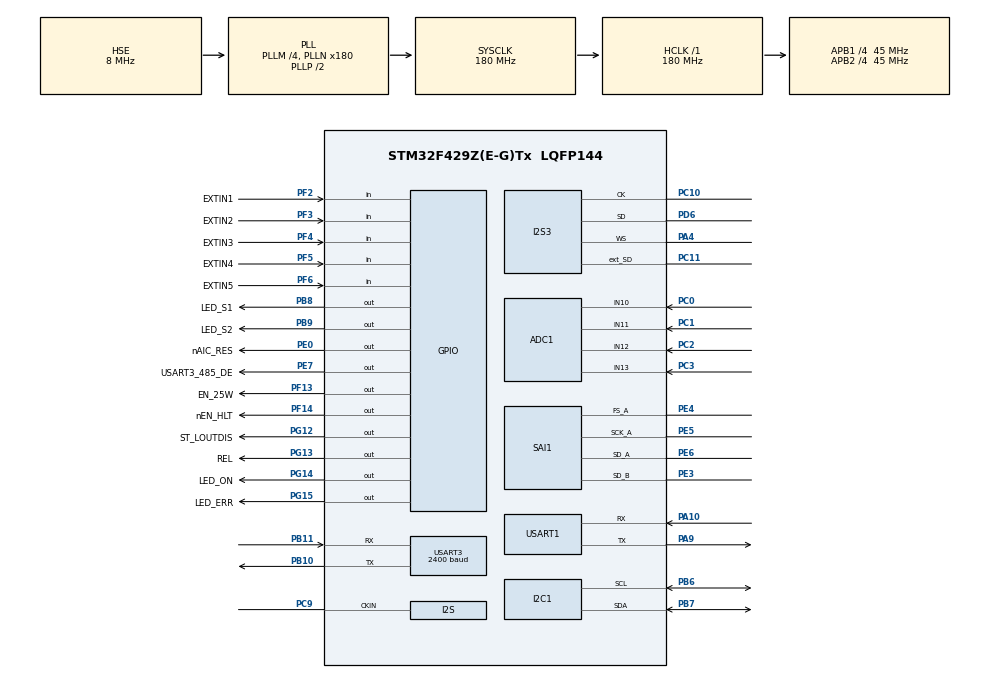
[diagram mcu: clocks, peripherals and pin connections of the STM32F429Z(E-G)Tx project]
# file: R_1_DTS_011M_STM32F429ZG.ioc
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ADC1.Channel-0\#ChannelRegularConversion=ADC_CHANNEL_10
ADC1.Channel-1\#ChannelRegularConversion=ADC_CHANNEL_11
ADC1.Channel-4\#ChannelRegularConversion=ADC_CHANNEL_12
ADC1.Channel-5\#ChannelRegularConversion=ADC_CHANNEL_13
ADC1.ClockPrescaler=ADC_CLOCK_SYNC_PCLK_DIV8
ADC1.ContinuousConvMode=ENABLE
ADC1.DMAContinuousRequests=ENABLE
ADC1.ExternalTrigConv=ADC_SOFTWARE_START
ADC1.NbrOfConversion=4
ADC1.NbrOfConversionFlag=1
ADC1.Rank-0\#ChannelRegularConversion=1
ADC1.Rank-1\#ChannelRegularConversion=2
ADC1.Rank-4\#ChannelRegularConversion=3
ADC1.Rank-5\#ChannelRegularConversion=4
ADC1.SamplingTime-0\#ChannelRegularConversion=ADC_SAMPLETIME_3CYCLES
ADC1.SamplingTime-1\#ChannelRegularConversion=ADC_SAMPLETIME_3CYCLES
ADC1.SamplingTime-4\#ChannelRegularConversion=ADC_SAMPLETIME_3CYCLES
ADC1.SamplingTime-5\#ChannelRegularConversion=ADC_SAMPLETIME_3CYCLES
ADC1.ScanConvMode=ENABLE
ADC1.master=1
Dma.ADC1.3.Direction=DMA_PERIPH_TO_MEMORY
Dma.ADC1.3.FIFOMode=DMA_FIFOMODE_DISABLE
Dma.ADC1.3.Instance=DMA2_Stream0
Dma.ADC1.3.MemDataAlignment=DMA_MDATAALIGN_WORD
Dma.ADC1.3.MemInc=DMA_MINC_ENABLE
Dma.ADC1.3.Mode=DMA_CIRCULAR
Dma.ADC1.3.PeriphDataAlignment=DMA_PDATAALIGN_WORD
Dma.ADC1.3.PeriphInc=DMA_PINC_DISABLE
Dma.ADC1.3.Priority=DMA_PRIORITY_LOW
Dma.I2S3_EXT_RX.4.Direction=DMA_PERIPH_TO_MEMORY
Dma.I2S3_EXT_RX.4.FIFOMode=DMA_FIFOMODE_DISABLE
Dma.I2S3_EXT_RX.4.Instance=DMA1_Stream0
Dma.I2S3_EXT_RX.4.MemDataAlignment=DMA_MDATAALIGN_HALFWORD
Dma.I2S3_EXT_RX.4.MemInc=DMA_MINC_ENABLE
Dma.I2S3_EXT_RX.4.Mode=DMA_CIRCULAR
Dma.I2S3_EXT_RX.4.PeriphDataAlignment=DMA_PDATAALIGN_HALFWORD
Dma.I2S3_EXT_RX.4.PeriphInc=DMA_PINC_DISABLE
Dma.I2S3_EXT_RX.4.Priority=DMA_PRIORITY_HIGH
Dma.Request0=SAI1_B
Dma.Request1=SAI1_A
Dma.Request2=SPI3_TX
Dma.Request3=ADC1
Dma.Request4=I2S3_EXT_RX
Dma.SAI1_A.1.Direction=DMA_MEMORY_TO_PERIPH
Dma.SAI1_A.1.FIFOMode=DMA_FIFOMODE_DISABLE
Dma.SAI1_A.1.Instance=DMA2_Stream1
Dma.SAI1_A.1.MemDataAlignment=DMA_MDATAALIGN_HALFWORD
Dma.SAI1_A.1.MemInc=DMA_MINC_ENABLE
Dma.SAI1_A.1.Mode=DMA_CIRCULAR
Dma.SAI1_A.1.PeriphDataAlignment=DMA_PDATAALIGN_HALFWORD
Dma.SAI1_A.1.PeriphInc=DMA_PINC_DISABLE
Dma.SAI1_A.1.Priority=DMA_PRIORITY_VERY_HIGH
Dma.SAI1_B.0.Direction=DMA_PERIPH_TO_MEMORY
Dma.SAI1_B.0.FIFOMode=DMA_FIFOMODE_DISABLE
Dma.SAI1_B.0.Instance=DMA2_Stream4
Dma.SAI1_B.0.MemDataAlignment=DMA_MDATAALIGN_HALFWORD
Dma.SAI1_B.0.MemInc=DMA_MINC_ENABLE
Dma.SAI1_B.0.Mode=DMA_CIRCULAR
Dma.SAI1_B.0.PeriphDataAlignment=DMA_PDATAALIGN_HALFWORD
Dma.SAI1_B.0.PeriphInc=DMA_PINC_DISABLE
Dma.SAI1_B.0.Priority=DMA_PRIORITY_VERY_HIGH
Dma.SPI3_TX.2.Direction=DMA_MEMORY_TO_PERIPH
Dma.SPI3_TX.2.FIFOMode=DMA_FIFOMODE_DISABLE
Dma.SPI3_TX.2.Instance=DMA1_Stream5
Dma.SPI3_TX.2.MemDataAlignment=DMA_MDATAALIGN_HALFWORD
Dma.SPI3_TX.2.MemInc=DMA_MINC_ENABLE
Dma.SPI3_TX.2.Mode=DMA_CIRCULAR
Dma.SPI3_TX.2.PeriphDataAlignment=DMA_PDATAALIGN_HALFWORD
Dma.SPI3_TX.2.PeriphInc=DMA_PINC_DISABLE
Dma.SPI3_TX.2.Priority=DMA_PRIORITY_HIGH
I2C1.I2C_Mode=I2C_Fast
I2S3.CPOL=I2S_CPOL_LOW
I2S3.ClockSource=I2S_CLOCK_PLL
I2S3.DataFormat=I2S_DATAFORMAT_16B
I2S3.ErrorAudioFreq=0.0 %
I2S3.FullDuplexMode=I2S_FULLDUPLEXMODE_ENABLE
I2S3.Instance=SPI$Index
I2S3.RealAudioFreq=8.0 KHz
I2S3.VirtualMode=I2S_MODE_MASTER
IWDG.Prescaler=IWDG_PRESCALER_64
IWDG.Reload=3500
Mcu.Family=STM32F4
Mcu.Name=STM32F429Z(E-G)Tx
Mcu.Package=LQFP144
NVIC.DMA1_Stream5_IRQn=true\:1\:0\:true\:false\:true\:true\:true
NVIC.DMA2_Stream0_IRQn=true\:1\:0\:true\:false\:true\:true\:true
NVIC.DMA2_Stream4_IRQn=true\:1\:0\:true\:false\:true\:true\:true
NVIC.PriorityGroup=NVIC_PRIORITYGROUP_4
NVIC.USART1_IRQn=true\:5\:0\:true\:false\:false\:true\:false
NVIC.USART3_IRQn=true\:6\:0\:true\:false\:false\:true\:false
PA10.Mode=Asynchronous
PA10.Signal=USART1_RX
PA4.Mode=Full_Duplex_Master
PA4.Signal=I2S3_WS
PA9.Mode=Asynchronous
PA9.Signal=USART1_TX
PB10.Mode=Asynchronous
PB10.Signal=USART3_TX
PB11.Mode=Asynchronous
PB11.Signal=USART3_RX
PB6.Mode=I2C
PB6.Signal=I2C1_SCL
PB7.Mode=I2C
PB7.Signal=I2C1_SDA
PB8.GPIO_Label=LED_S1
PB8.GPIO_Speed=GPIO_SPEED_FREQ_MEDIUM
PB8.PinState=GPIO_PIN_SET
PB8.Signal=GPIO_Output
PB9.GPIO_Label=LED_S2
PB9.GPIO_Speed=GPIO_SPEED_FREQ_MEDIUM
PB9.PinState=GPIO_PIN_SET
PB9.Signal=GPIO_Output
PC0.Signal=ADCx_IN10
PC1.Signal=ADCx_IN11
PC10.Mode=Full_Duplex_Master
PC10.Signal=I2S3_CK
PC11.Mode=Full_Duplex_Master
PC11.Signal=I2S3_ext_SD
PC2.Signal=ADCx_IN12
PC3.Signal=ADCx_IN13
PC9.Mode=Audio_ClockIn
PC9.Signal=I2S_CKIN
PD6.Mode=Full_Duplex_Master
PD6.Signal=I2S3_SD
PE0.GPIO_Label=nAIC_RES
PE0.GPIO_Speed=GPIO_SPEED_FREQ_LOW
PE0.Signal=GPIO_Output
PE3.Mode=SAI_B_SyncSlave
PE3.Signal=SAI1_SD_B
PE4.Mode=SAI_A_AsyncSlave
PE4.Signal=SAI1_FS_A
PE5.Mode=SAI_A_AsyncSlave
PE5.Signal=SAI1_SCK_A
PE6.Mode=SAI_A_AsyncSlave
PE6.Signal=SAI1_SD_A
PE7.GPIO_Label=USART3_485_DE
PE7.GPIO_Speed=GPIO_SPEED_FREQ_HIGH
PE7.Signal=GPIO_Output
PF13.GPIO_Label=EN_25W
PF13.Signal=GPIO_Output
PF14.GPIO_Label=nEN_HLT
PF14.Signal=GPIO_Output
PF2.GPIO_Label=EXTIN1
PF2.Signal=GPIO_Input
PF3.GPIO_Label=EXTIN2
PF3.Signal=GPIO_Input
PF4.GPIO_Label=EXTIN3
PF4.Signal=GPIO_Input
PF5.GPIO_Label=EXTIN4
PF5.Signal=GPIO_Input
PF6.GPIO_Label=EXTIN5
PF6.Signal=GPIO_Input
PG12.GPIO_Label=ST_LOUTDIS
PG12.Signal=GPIO_Output
PG13.GPIO_Label=REL
PG13.GPIO_Speed=GPIO_SPEED_FREQ_MEDIUM
PG13.PinState=GPIO_PIN_RESET
PG13.Signal=GPIO_Output
PG14.GPIO_Label=LED_ON
PG14.GPIO_Speed=GPIO_SPEED_FREQ_MEDIUM
PG14.PinState=GPIO_PIN_RESET
PG14.Signal=GPIO_Output
PG15.GPIO_Label=LED_ERR
PG15.GPIO_Speed=GPIO_SPEED_FREQ_MEDIUM
PG15.PinState=GPIO_PIN_SET
PG15.Signal=GPIO_Output
PH0/OSC_IN.Mode=HSE-External-Oscillator
PH0/OSC_IN.Signal=RCC_OSC_IN
PH1/OSC_OUT.Mode=HSE-External-Oscillator
PH1/OSC_OUT.Signal=RCC_OSC_OUT
ProjectManager.HeapSize=0x1000
ProjectManager.StackSize=0x1000
ProjectManager.TargetToolchain=MDK-ARM V5.27
RCC.48MHZClocksFreq_Value=90000000
RCC.AHBFreq_Value=180000000
RCC.APB1CLKDivider=RCC_HCLK_DIV4
RCC.APB1Freq_Value=45000000
RCC.APB1TimFreq_Value=90000000
RCC.APB2CLKDivider=RCC_HCLK_DIV4
RCC.APB2Freq_Value=45000000
RCC.APB2TimFreq_Value=90000000
RCC.CortexFreq_Value=180000000
RCC.EXTERNAL_CLOCK_VALUE=2048000
RCC.HCLKFreq_Value=180000000
RCC.HSE_VALUE=8000000
RCC.HSI_VALUE=16000000
RCC.LSE_VALUE=32768
RCC.PLLI2SR=4
RCC.PLLM=4
RCC.PLLN=180
RCC.PLLSAIN=216
RCC.PLLSAIQ=2
RCC.PLLSourceVirtual=RCC_PLLSOURCE_HSE
RCC.PWREXT_OverDrive=PWREXT_OverDrive_ACTIVATED
RCC.PWR_Regulator_Voltage_Scale=PWR_REGULATOR_VOLTAGE_SCALE1
RCC.SYSCLKFreq_VALUE=180000000
RCC.SYSCLKSource=RCC_SYSCLKSOURCE_PLLCLK
RCC.VCOOutputFreq_Value=360000000
SAI1.AudioMode-SAI_A_AsyncSlave=SAI_MODESLAVE_TX
SAI1.ClockStrobing-SAI_A_AsyncSlave=SAI_CLOCKSTROBING_RISINGEDGE
SAI1.DataSize-SAI_A_AsyncSlave=SAI_DATASIZE_16
SAI1.DataSize-SAI_B_SyncSlave=SAI_DATASIZE_16
SAI1.FrameLength-SAI_A_AsyncSlave=256
SAI1.FrameLength-SAI_B_SyncSlave=256
SAI1.Instance-SAI_A_AsyncSlave=SAI$Index_Block_A
SAI1.Instance-SAI_B_SyncSlave=SAI$Index_Block_B
SAI1.SlotActive-SAI_A_AsyncSlave=0x00000003
SAI1.SlotActive-SAI_B_SyncSlave=0x00000003
SAI1.SlotNumber-SAI_A_AsyncSlave=16
SAI1.SlotNumber-SAI_B_SyncSlave=16
SAI1.Synchro_A=SAI_ASYNCHRONOUS
SAI1.Synchro_B=SAI_SYNCHRONOUS
SAI1.VirtualMode-SAI_A_AsyncSlave=VM_SLAVE
SAI1.VirtualMode-SAI_B_SyncSlave=VM_SLAVE
SAI1.VirtualSlotActive-SAI_A_AsyncSlave=SAI_SLOT_USERSETTING
SAI1.VirtualSlotActive-SAI_B_SyncSlave=SAI_SLOT_USERSETTING
SAI1.VirtualSlotActive0-SAI_A_AsyncSlave=true
SAI1.VirtualSlotActive0-SAI_B_SyncSlave=true
SAI1.VirtualSlotActive1-SAI_A_AsyncSlave=true
SAI1.VirtualSlotActive1-SAI_B_SyncSlave=true
SH.ADCx_IN10.0=ADC1_IN10,IN10
SH.ADCx_IN11.0=ADC1_IN11,IN11
SH.ADCx_IN12.0=ADC1_IN12,IN12
SH.ADCx_IN13.0=ADC1_IN13,IN13
USART1.VirtualMode=VM_ASYNC
USART3.BaudRate=2400
USART3.VirtualMode=VM_ASYNC
VP_IWDG_VS_IWDG.Mode=IWDG_Activate
board=custom

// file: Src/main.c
/* USER CODE BEGIN Header */
/**
  ******************************************************************************
  * @file           : main.c
  * @brief          : Main program body
  ******************************************************************************
  * @attention
  *
  * <h2><center>&copy; Copyright (c) 2023 STMicroelectronics.
  * All rights reserved.</center></h2>
  *
  * This software component is licensed by ST under BSD 3-Clause license,
  * the "License"; You may not use this file except in compliance with the
  * License. You may obtain a copy of the License at:
  *                        opensource.org/licenses/BSD-3-Clause
  *
  ******************************************************************************
  */
/* USER CODE END Header */

#include "main.h"

/* USER CODE BEGIN Includes */
#include "dbg_uart.h"
#include "ST-BUS_SAI_in_out.h"
#include "HDLC_Tx.h"
#include "HDLC_Rx_low_level.h"
#include "main_logic.h"
#include "uart.h"
#include "tastature.h"
#include "codec_TLV320AIC3100.h"
#include "audio_in_out.h"
#include "volume_control.h"
/* USER CODE END Includes */

ADC_HandleTypeDef hadc1;
DMA_HandleTypeDef hdma_adc1;

I2C_HandleTypeDef hi2c1;

I2S_HandleTypeDef hi2s3;
DMA_HandleTypeDef hdma_spi3_tx;
DMA_HandleTypeDef hdma_i2s3_ext_rx;

IWDG_HandleTypeDef hiwdg;

SAI_HandleTypeDef hsai_BlockA1;
SAI_HandleTypeDef hsai_BlockB1;
DMA_HandleTypeDef hdma_sai1_b;
DMA_HandleTypeDef hdma_sai1_a;

/* USER CODE BEGIN PV */
FLASH_OBProgramInitTypeDef	Fuses;
/* USER CODE END PV */

void SystemClock_Config(void);
static void MX_GPIO_Init(void);
static void MX_DMA_Init(void);
static void MX_SAI1_Init(void);
static void MX_USART1_UART_Init(void);
static void MX_USART3_UART_Init(void);
static void MX_I2C1_Init(void);
static void MX_I2S3_Init(void);
static void MX_ADC1_Init(void);
static void MX_IWDG_Init(void);

/* USER CODE BEGIN 0 */

void CLR_WDT(void) {
  HAL_IWDG_Refresh(&hiwdg);
}
void ReadProtect(void) // защита от считывания
{

  HAL_FLASHEx_OBGetConfig(&Fuses);

  if (Fuses.RDPLevel != OB_RDP_LEVEL_1) {
    HAL_FLASH_Unlock(); // разрешаем запись
    HAL_FLASH_OB_Unlock(); // разрешаем запись

    Fuses.RDPLevel = OB_RDP_LEVEL_1;
    HAL_FLASHEx_OBProgram(&Fuses);

    HAL_FLASH_OB_Launch();
    HAL_FLASH_OB_Lock(); // запрещаем запись
    HAL_FLASH_Lock(); // запрещаем запись
  }
}
/* USER CODE END 0 */

int main(void)
{

  /* MCU Configuration--------------------------------------------------------*/

  /* Reset of all peripherals, Initializes the Flash interface and the Systick. */
  HAL_Init();

  /* Configure the system clock */
  SystemClock_Config();

  /* Initialize all configured peripherals */
  MX_GPIO_Init();
  MX_DMA_Init();
  MX_SAI1_Init();
  MX_USART1_UART_Init();
  MX_USART3_UART_Init();
  MX_I2C1_Init();
  MX_I2S3_Init();
  MX_ADC1_Init();
  MX_IWDG_Init();
  /* USER CODE BEGIN 2 */
  puts("Start application.\r");
  puts("\rFirmware version: "FIRMWARE_VERSION"\r");
  DV_port_input_Init();
  initTastature();
  AudioInOutInit();
  initMainLogic();

  //ReadProtect(); //   <---------------------- защита от считывания
  /* USER CODE END 2 */

  /* Infinite loop */
  /* USER CODE BEGIN WHILE */
  while (1)
{
    static uint32_t tmr = 0;

    if (HAL_GetTick() - tmr > 7000) {
      tmr = HAL_GetTick();

    }

    processHdlcFrame();
//    HDLC_ProcessTx(); // перенесено в 1 мс прерывание
    doMainLogic();

    /* USER CODE END WHILE */

  }
}

void SystemClock_Config(void)
{
  RCC_OscInitTypeDef RCC_OscInitStruct = {0};
  RCC_ClkInitTypeDef RCC_ClkInitStruct = {0};
  RCC_PeriphCLKInitTypeDef PeriphClkInitStruct = {0};

  /** Macro to configure SAI1BlockB clock source selection
  */
  __HAL_RCC_SAI_BLOCKBCLKSOURCE_CONFIG(SAI_CLKSOURCE_PLLSAI);
  /** Macro to configure SAI1BlockA clock source selection
  */
  __HAL_RCC_SAI_BLOCKACLKSOURCE_CONFIG(SAI_CLKSOURCE_PLLSAI);
  /** Configure the main internal regulator output voltage
  */
  __HAL_RCC_PWR_CLK_ENABLE();
  __HAL_PWR_VOLTAGESCALING_CONFIG(PWR_REGULATOR_VOLTAGE_SCALE1);
  /** Initializes the CPU, AHB and APB busses clocks
  */
  RCC_OscInitStruct.OscillatorType = RCC_OSCILLATORTYPE_LSI|RCC_OSCILLATORTYPE_HSE;
  RCC_OscInitStruct.HSEState = RCC_HSE_ON;
  RCC_OscInitStruct.LSIState = RCC_LSI_ON;
  RCC_OscInitStruct.PLL.PLLState = RCC_PLL_ON;
  RCC_OscInitStruct.PLL.PLLSource = RCC_PLLSOURCE_HSE;
  RCC_OscInitStruct.PLL.PLLM = 4;
  RCC_OscInitStruct.PLL.PLLN = 180;
  RCC_OscInitStruct.PLL.PLLP = RCC_PLLP_DIV2;
  RCC_OscInitStruct.PLL.PLLQ = 4;
  if (HAL_RCC_OscConfig(&RCC_OscInitStruct) != HAL_OK)
  {
    Error_Handler();
  }
  /** Activate the Over-Drive mode
  */
  if (HAL_PWREx_EnableOverDrive() != HAL_OK)
  {
    Error_Handler();
  }
  /** Initializes the CPU, AHB and APB busses clocks
  */
  RCC_ClkInitStruct.ClockType = RCC_CLOCKTYPE_HCLK|RCC_CLOCKTYPE_SYSCLK
                              |RCC_CLOCKTYPE_PCLK1|RCC_CLOCKTYPE_PCLK2;
  RCC_ClkInitStruct.SYSCLKSource = RCC_SYSCLKSOURCE_PLLCLK;
  RCC_ClkInitStruct.AHBCLKDivider = RCC_SYSCLK_DIV1;
  RCC_ClkInitStruct.APB1CLKDivider = RCC_HCLK_DIV4;
  RCC_ClkInitStruct.APB2CLKDivider = RCC_HCLK_DIV4;

  if (HAL_RCC_ClockConfig(&RCC_ClkInitStruct, FLASH_LATENCY_5) != HAL_OK)
  {
    Error_Handler();
  }
  PeriphClkInitStruct.PeriphClockSelection = RCC_PERIPHCLK_I2S|RCC_PERIPHCLK_SAI_PLLSAI;
  PeriphClkInitStruct.PLLI2S.PLLI2SN = 192;
  PeriphClkInitStruct.PLLI2S.PLLI2SR = 4;
  PeriphClkInitStruct.PLLSAI.PLLSAIN = 216;
  PeriphClkInitStruct.PLLSAI.PLLSAIQ = 2;
  PeriphClkInitStruct.PLLSAIDivQ = 1;
  if (HAL_RCCEx_PeriphCLKConfig(&PeriphClkInitStruct) != HAL_OK)
  {
    Error_Handler();
  }
}

static void MX_ADC1_Init(void)
{

  ADC_ChannelConfTypeDef sConfig = {0};

  /** Configure the global features of the ADC (Clock, Resolution, Data Alignment and number of conversion)
  */
  hadc1.Instance = ADC1;
  hadc1.Init.ClockPrescaler = ADC_CLOCK_SYNC_PCLK_DIV8;
  hadc1.Init.Resolution = ADC_RESOLUTION_12B;
  hadc1.Init.ScanConvMode = ENABLE;
  hadc1.Init.ContinuousConvMode = ENABLE;
  hadc1.Init.DiscontinuousConvMode = DISABLE;
  hadc1.Init.ExternalTrigConvEdge = ADC_EXTERNALTRIGCONVEDGE_NONE;
  hadc1.Init.ExternalTrigConv = ADC_SOFTWARE_START;
  hadc1.Init.DataAlign = ADC_DATAALIGN_RIGHT;
  hadc1.Init.NbrOfConversion = 4;
  hadc1.Init.DMAContinuousRequests = ENABLE;
  hadc1.Init.EOCSelection = ADC_EOC_SINGLE_CONV;
  if (HAL_ADC_Init(&hadc1) != HAL_OK)
  {
    Error_Handler();
  }
  /** Configure for the selected ADC regular channel its corresponding rank in the sequencer and its sample time.
  */
  sConfig.Channel = ADC_CHANNEL_10;
  sConfig.Rank = 1;
  sConfig.SamplingTime = ADC_SAMPLETIME_3CYCLES;
  if (HAL_ADC_ConfigChannel(&hadc1, &sConfig) != HAL_OK)
  {
    Error_Handler();
  }
  /** Configure for the selected ADC regular channel its corresponding rank in the sequencer and its sample time.
  */
  sConfig.Channel = ADC_CHANNEL_11;
  sConfig.Rank = 2;
  if (HAL_ADC_ConfigChannel(&hadc1, &sConfig) != HAL_OK)
  {
    Error_Handler();
  }
  /** Configure for the selected ADC regular channel its corresponding rank in the sequencer and its sample time.
  */
  sConfig.Channel = ADC_CHANNEL_12;
  sConfig.Rank = 3;
  if (HAL_ADC_ConfigChannel(&hadc1, &sConfig) != HAL_OK)
  {
    Error_Handler();
  }
  /** Configure for the selected ADC regular channel its corresponding rank in the sequencer and its sample time.
  */
  sConfig.Channel = ADC_CHANNEL_13;
  sConfig.Rank = 4;
  if (HAL_ADC_ConfigChannel(&hadc1, &sConfig) != HAL_OK)
  {
    Error_Handler();
  }

}

static void MX_I2C1_Init(void)
{

  hi2c1.Instance = I2C1;
  hi2c1.Init.ClockSpeed = 400000;
  hi2c1.Init.DutyCycle = I2C_DUTYCYCLE_2;
  hi2c1.Init.OwnAddress1 = 0;
  hi2c1.Init.AddressingMode = I2C_ADDRESSINGMODE_7BIT;
  hi2c1.Init.DualAddressMode = I2C_DUALADDRESS_DISABLE;
  hi2c1.Init.OwnAddress2 = 0;
  hi2c1.Init.GeneralCallMode = I2C_GENERALCALL_DISABLE;
  hi2c1.Init.NoStretchMode = I2C_NOSTRETCH_DISABLE;
  if (HAL_I2C_Init(&hi2c1) != HAL_OK)
  {
    Error_Handler();
  }
  /** Configure Analogue filter
  */
  if (HAL_I2CEx_ConfigAnalogFilter(&hi2c1, I2C_ANALOGFILTER_ENABLE) != HAL_OK)
  {
    Error_Handler();
  }
  /** Configure Digital filter
  */
  if (HAL_I2CEx_ConfigDigitalFilter(&hi2c1, 0) != HAL_OK)
  {
    Error_Handler();
  }

}

static void MX_I2S3_Init(void)
{

  hi2s3.Instance = SPI3;
  hi2s3.Init.Mode = I2S_MODE_MASTER_TX;
  hi2s3.Init.Standard = I2S_STANDARD_PHILIPS;
  hi2s3.Init.DataFormat = I2S_DATAFORMAT_16B;
  hi2s3.Init.MCLKOutput = I2S_MCLKOUTPUT_DISABLE;
  hi2s3.Init.AudioFreq = I2S_AUDIOFREQ_8K;
  hi2s3.Init.CPOL = I2S_CPOL_LOW;
  hi2s3.Init.ClockSource = I2S_CLOCK_PLL;
  hi2s3.Init.FullDuplexMode = I2S_FULLDUPLEXMODE_ENABLE;
  if (HAL_I2S_Init(&hi2s3) != HAL_OK)
  {
    Error_Handler();
  }

}

static void MX_IWDG_Init(void)
{

  hiwdg.Instance = IWDG;
  hiwdg.Init.Prescaler = IWDG_PRESCALER_64;
  hiwdg.Init.Reload = 3500;
  if (HAL_IWDG_Init(&hiwdg) != HAL_OK)
  {
    Error_Handler();
  }

}

static void MX_SAI1_Init(void)
{

  hsai_BlockA1.Instance = SAI1_Block_A;
  hsai_BlockA1.Init.Protocol = SAI_FREE_PROTOCOL;
  hsai_BlockA1.Init.AudioMode = SAI_MODESLAVE_TX;
  hsai_BlockA1.Init.DataSize = SAI_DATASIZE_16;
  hsai_BlockA1.Init.FirstBit = SAI_FIRSTBIT_MSB;
  hsai_BlockA1.Init.ClockStrobing = SAI_CLOCKSTROBING_RISINGEDGE;
  hsai_BlockA1.Init.Synchro = SAI_ASYNCHRONOUS;
  hsai_BlockA1.Init.OutputDrive = SAI_OUTPUTDRIVE_DISABLE;
  hsai_BlockA1.Init.FIFOThreshold = SAI_FIFOTHRESHOLD_EMPTY;
  hsai_BlockA1.FrameInit.FrameLength = 256;
  hsai_BlockA1.FrameInit.ActiveFrameLength = 1;
  hsai_BlockA1.FrameInit.FSDefinition = SAI_FS_STARTFRAME;
  hsai_BlockA1.FrameInit.FSPolarity = SAI_FS_ACTIVE_LOW;
  hsai_BlockA1.FrameInit.FSOffset = SAI_FS_FIRSTBIT;
  hsai_BlockA1.SlotInit.FirstBitOffset = 0;
  hsai_BlockA1.SlotInit.SlotSize = SAI_SLOTSIZE_DATASIZE;
  hsai_BlockA1.SlotInit.SlotNumber = 16;
  hsai_BlockA1.SlotInit.SlotActive = 0x00000003;
  if (HAL_SAI_Init(&hsai_BlockA1) != HAL_OK)
  {
    Error_Handler();
  }
  hsai_BlockB1.Instance = SAI1_Block_B;
  hsai_BlockB1.Init.Protocol = SAI_FREE_PROTOCOL;
  hsai_BlockB1.Init.AudioMode = SAI_MODESLAVE_RX;
  hsai_BlockB1.Init.DataSize = SAI_DATASIZE_16;
  hsai_BlockB1.Init.FirstBit = SAI_FIRSTBIT_MSB;
  hsai_BlockB1.Init.ClockStrobing = SAI_CLOCKSTROBING_FALLINGEDGE;
  hsai_BlockB1.Init.Synchro = SAI_SYNCHRONOUS;
  hsai_BlockB1.Init.OutputDrive = SAI_OUTPUTDRIVE_DISABLE;
  hsai_BlockB1.Init.FIFOThreshold = SAI_FIFOTHRESHOLD_EMPTY;
  hsai_BlockB1.FrameInit.FrameLength = 256;
  hsai_BlockB1.FrameInit.ActiveFrameLength = 1;
  hsai_BlockB1.FrameInit.FSDefinition = SAI_FS_STARTFRAME;
  hsai_BlockB1.FrameInit.FSPolarity = SAI_FS_ACTIVE_LOW;
  hsai_BlockB1.FrameInit.FSOffset = SAI_FS_FIRSTBIT;
  hsai_BlockB1.SlotInit.FirstBitOffset = 0;
  hsai_BlockB1.SlotInit.SlotSize = SAI_SLOTSIZE_DATASIZE;
  hsai_BlockB1.SlotInit.SlotNumber = 16;
  hsai_BlockB1.SlotInit.SlotActive = 0x00000003;
  if (HAL_SAI_Init(&hsai_BlockB1) != HAL_OK)
  {
    Error_Handler();
  }

}

static void MX_USART1_UART_Init(void)
{

  LL_USART_InitTypeDef USART_InitStruct = {0};

  LL_GPIO_InitTypeDef GPIO_InitStruct = {0};

  /* Peripheral clock enable */
  LL_APB2_GRP1_EnableClock(LL_APB2_GRP1_PERIPH_USART1);

  LL_AHB1_GRP1_EnableClock(LL_AHB1_GRP1_PERIPH_GPIOA);
  /**USART1 GPIO Configuration
  PA9   ------> USART1_TX
  PA10   ------> USART1_RX
  */
  GPIO_InitStruct.Pin = LL_GPIO_PIN_9|LL_GPIO_PIN_10;
  GPIO_InitStruct.Mode = LL_GPIO_MODE_ALTERNATE;
  GPIO_InitStruct.Speed = LL_GPIO_SPEED_FREQ_VERY_HIGH;
  GPIO_InitStruct.OutputType = LL_GPIO_OUTPUT_PUSHPULL;
  GPIO_InitStruct.Pull = LL_GPIO_PULL_NO;
  GPIO_InitStruct.Alternate = LL_GPIO_AF_7;
  LL_GPIO_Init(GPIOA, &GPIO_InitStruct);

  /* USART1 interrupt Init */
  NVIC_SetPriority(USART1_IRQn, NVIC_EncodePriority(NVIC_GetPriorityGrouping(),5, 0));
  NVIC_EnableIRQ(USART1_IRQn);

  USART_InitStruct.BaudRate = 115200;
  USART_InitStruct.DataWidth = LL_USART_DATAWIDTH_8B;
  USART_InitStruct.StopBits = LL_USART_STOPBITS_1;
  USART_InitStruct.Parity = LL_USART_PARITY_NONE;
  USART_InitStruct.TransferDirection = LL_USART_DIRECTION_TX_RX;
  USART_InitStruct.HardwareFlowControl = LL_USART_HWCONTROL_NONE;
  USART_InitStruct.OverSampling = LL_USART_OVERSAMPLING_16;
  LL_USART_Init(USART1, &USART_InitStruct);
  LL_USART_ConfigAsyncMode(USART1);
  LL_USART_Enable(USART1);

}

static void MX_USART3_UART_Init(void)
{

  LL_USART_InitTypeDef USART_InitStruct = {0};

  LL_GPIO_InitTypeDef GPIO_InitStruct = {0};

  /* Peripheral clock enable */
  LL_APB1_GRP1_EnableClock(LL_APB1_GRP1_PERIPH_USART3);

  LL_AHB1_GRP1_EnableClock(LL_AHB1_GRP1_PERIPH_GPIOB);
  /**USART3 GPIO Configuration
  PB10   ------> USART3_TX
  PB11   ------> USART3_RX
  */
  GPIO_InitStruct.Pin = LL_GPIO_PIN_10|LL_GPIO_PIN_11;
  GPIO_InitStruct.Mode = LL_GPIO_MODE_ALTERNATE;
  GPIO_InitStruct.Speed = LL_GPIO_SPEED_FREQ_VERY_HIGH;
  GPIO_InitStruct.OutputType = LL_GPIO_OUTPUT_PUSHPULL;
  GPIO_InitStruct.Pull = LL_GPIO_PULL_NO;
  GPIO_InitStruct.Alternate = LL_GPIO_AF_7;
  LL_GPIO_Init(GPIOB, &GPIO_InitStruct);

  /* USART3 interrupt Init */
  NVIC_SetPriority(USART3_IRQn, NVIC_EncodePriority(NVIC_GetPriorityGrouping(),6, 0));
  NVIC_EnableIRQ(USART3_IRQn);

  USART_InitStruct.BaudRate = 2400;
  USART_InitStruct.DataWidth = LL_USART_DATAWIDTH_8B;
  USART_InitStruct.StopBits = LL_USART_STOPBITS_1;
  USART_InitStruct.Parity = LL_USART_PARITY_NONE;
  USART_InitStruct.TransferDirection = LL_USART_DIRECTION_TX_RX;
  USART_InitStruct.HardwareFlowControl = LL_USART_HWCONTROL_NONE;
  USART_InitStruct.OverSampling = LL_USART_OVERSAMPLING_16;
  LL_USART_Init(USART3, &USART_InitStruct);
  LL_USART_ConfigAsyncMode(USART3);
  LL_USART_Enable(USART3);

}

static void MX_DMA_Init(void)
{

  /* DMA controller clock enable */
  __HAL_RCC_DMA2_CLK_ENABLE();
  __HAL_RCC_DMA1_CLK_ENABLE();

  /* DMA interrupt init */
  /* DMA1_Stream5_IRQn interrupt configuration */
  HAL_NVIC_SetPriority(DMA1_Stream5_IRQn, 1, 0);
  HAL_NVIC_EnableIRQ(DMA1_Stream5_IRQn);
  /* DMA2_Stream0_IRQn interrupt configuration */
  HAL_NVIC_SetPriority(DMA2_Stream0_IRQn, 1, 0);
  HAL_NVIC_EnableIRQ(DMA2_Stream0_IRQn);
  /* DMA2_Stream4_IRQn interrupt configuration */
  HAL_NVIC_SetPriority(DMA2_Stream4_IRQn, 1, 0);
  HAL_NVIC_EnableIRQ(DMA2_Stream4_IRQn);

}

static void MX_GPIO_Init(void)
{
  GPIO_InitTypeDef GPIO_InitStruct = {0};

  /* GPIO Ports Clock Enable */
  __HAL_RCC_GPIOE_CLK_ENABLE();
  __HAL_RCC_GPIOF_CLK_ENABLE();
  __HAL_RCC_GPIOH_CLK_ENABLE();
  __HAL_RCC_GPIOC_CLK_ENABLE();
  __HAL_RCC_GPIOA_CLK_ENABLE();
  __HAL_RCC_GPIOB_CLK_ENABLE();
  __HAL_RCC_GPIOD_CLK_ENABLE();
  __HAL_RCC_GPIOG_CLK_ENABLE();

  /*Configure GPIO pin Output Level */
  HAL_GPIO_WritePin(GPIOF, EN_25W_Pin|nEN_HLT_Pin, GPIO_PIN_RESET);

  /*Configure GPIO pin Output Level */
  HAL_GPIO_WritePin(GPIOE, USART3_485_DE_Pin|nAIC_RES_Pin, GPIO_PIN_RESET);

  /*Configure GPIO pin Output Level */
  HAL_GPIO_WritePin(GPIOG, ST_LOUTDIS_Pin|REL_Pin|LED_ON_Pin, GPIO_PIN_RESET);

  /*Configure GPIO pin Output Level */
  HAL_GPIO_WritePin(LED_ERR_GPIO_Port, LED_ERR_Pin, GPIO_PIN_SET);

  /*Configure GPIO pin Output Level */
  HAL_GPIO_WritePin(GPIOB, LED_S1_Pin|LED_S2_Pin, GPIO_PIN_SET);

  /*Configure GPIO pins : EXTIN1_Pin EXTIN2_Pin EXTIN3_Pin EXTIN4_Pin
                           EXTIN5_Pin */
  GPIO_InitStruct.Pin = EXTIN1_Pin|EXTIN2_Pin|EXTIN3_Pin|EXTIN4_Pin
                          |EXTIN5_Pin;
  GPIO_InitStruct.Mode = GPIO_MODE_INPUT;
  GPIO_InitStruct.Pull = GPIO_NOPULL;
  HAL_GPIO_Init(GPIOF, &GPIO_InitStruct);

  /*Configure GPIO pins : EN_25W_Pin nEN_HLT_Pin */
  GPIO_InitStruct.Pin = EN_25W_Pin|nEN_HLT_Pin;
  GPIO_InitStruct.Mode = GPIO_MODE_OUTPUT_PP;
  GPIO_InitStruct.Pull = GPIO_NOPULL;
  GPIO_InitStruct.Speed = GPIO_SPEED_FREQ_LOW;
  HAL_GPIO_Init(GPIOF, &GPIO_InitStruct);

  /*Configure GPIO pin : USART3_485_DE_Pin */
  GPIO_InitStruct.Pin = USART3_485_DE_Pin;
  GPIO_InitStruct.Mode = GPIO_MODE_OUTPUT_PP;
  GPIO_InitStruct.Pull = GPIO_NOPULL;
  GPIO_InitStruct.Speed = GPIO_SPEED_FREQ_HIGH;
  HAL_GPIO_Init(USART3_485_DE_GPIO_Port, &GPIO_InitStruct);

  /*Configure GPIO pin : PC9 */
  GPIO_InitStruct.Pin = GPIO_PIN_9;
  GPIO_InitStruct.Mode = GPIO_MODE_AF_PP;
  GPIO_InitStruct.Pull = GPIO_NOPULL;
  GPIO_InitStruct.Speed = GPIO_SPEED_FREQ_LOW;
  GPIO_InitStruct.Alternate = GPIO_AF5_SPI1;
  HAL_GPIO_Init(GPIOC, &GPIO_InitStruct);

  /*Configure GPIO pin : ST_LOUTDIS_Pin */
  GPIO_InitStruct.Pin = ST_LOUTDIS_Pin;
  GPIO_InitStruct.Mode = GPIO_MODE_OUTPUT_PP;
  GPIO_InitStruct.Pull = GPIO_NOPULL;
  GPIO_InitStruct.Speed = GPIO_SPEED_FREQ_LOW;
  HAL_GPIO_Init(ST_LOUTDIS_GPIO_Port, &GPIO_InitStruct);

  /*Configure GPIO pins : REL_Pin LED_ON_Pin LED_ERR_Pin */
  GPIO_InitStruct.Pin = REL_Pin|LED_ON_Pin|LED_ERR_Pin;
  GPIO_InitStruct.Mode = GPIO_MODE_OUTPUT_PP;
  GPIO_InitStruct.Pull = GPIO_NOPULL;
  GPIO_InitStruct.Speed = GPIO_SPEED_FREQ_MEDIUM;
  HAL_GPIO_Init(GPIOG, &GPIO_InitStruct);

  /*Configure GPIO pins : LED_S1_Pin LED_S2_Pin */
  GPIO_InitStruct.Pin = LED_S1_Pin|LED_S2_Pin;
  GPIO_InitStruct.Mode = GPIO_MODE_OUTPUT_PP;
  GPIO_InitStruct.Pull = GPIO_NOPULL;
  GPIO_InitStruct.Speed = GPIO_SPEED_FREQ_MEDIUM;
  HAL_GPIO_Init(GPIOB, &GPIO_InitStruct);

  /*Configure GPIO pin : nAIC_RES_Pin */
  GPIO_InitStruct.Pin = nAIC_RES_Pin;
  GPIO_InitStruct.Mode = GPIO_MODE_OUTPUT_PP;
  GPIO_InitStruct.Pull = GPIO_NOPULL;
  GPIO_InitStruct.Speed = GPIO_SPEED_FREQ_LOW;
  HAL_GPIO_Init(nAIC_RES_GPIO_Port, &GPIO_InitStruct);

}

void Error_Handler(void)
{
}

/************************ (C) COPYRIGHT STMicroelectronics *****END OF FILE****/
